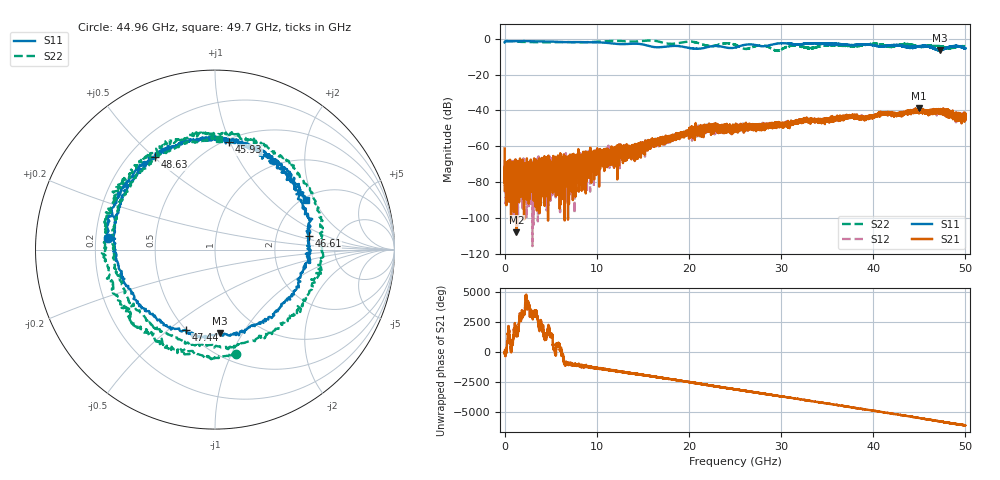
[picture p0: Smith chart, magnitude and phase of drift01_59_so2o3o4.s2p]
!Created with skrf (http://scikit-rf.org).
# Hz S RI R 50.0
!freq ReS11 ImS11 ReS21 ImS21 ReS12 ImS12 ReS22 ImS22
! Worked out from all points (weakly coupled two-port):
!   10001 points, 300 kHz to 50 GHz, reference 50 ohm
!   highest |S21| = -38.77 dB at 44.96 GHz (marker M1); lowest = -107.9 dB at 1.29 GHz (marker M2)
!   lowest |S11| = -6.6 dB at 47.28 GHz (marker M3), VSWR 2.75, Z = 33.6 - j40 ohm
!   |S11| at or under -10 dB: nowhere
!   |S22| runs from -6.8 to -1.0 dB; largest |S21 - S12| = 0.0039
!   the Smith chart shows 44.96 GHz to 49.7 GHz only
!   S11 on the Smith chart (normalised r, x): 44.96 GHz: 0.25, +0.05; 45.93 GHz: 0.52, +0.99; 46.61 GHz: 3.09, +0.64; 47.44 GHz: 0.50, -0.58; 48.63 GHz: 0.30, +0.50; 49.7 GHz: 2.10, +1.73
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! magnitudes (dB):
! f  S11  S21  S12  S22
! 300 kHz  -2.1  -61.2  -67.6  -1.3
! 255.3 MHz  -1.4  -77.0  -85.3  -1.4
! 1.29 GHz  -1.4  -107.9  -75.1  -1.7
! 6.765 GHz  -1.9  -70.8  -71.6  -1.9
! 8.335 GHz  -1.9  -68.7  -67.4  -2.1
! 16.67 GHz  -4.8  -56.9  -57.3  -1.6
! 21.81 GHz  -5.0  -51.8  -49.1  -3.7
! 25 GHz  -5.0  -50.4  -49.7  -3.4
! 26.19 GHz  -3.4  -46.9  -50.1  -5.7
! 28.08 GHz  -4.3  -48.9  -49.6  -3.9
! 29.55 GHz  -2.8  -49.0  -48.8  -6.7
! 31.26 GHz  -3.0  -48.0  -47.1  -4.0
! 33.34 GHz  -2.6  -45.5  -45.4  -5.3
! 41.67 GHz  -3.9  -40.7  -41.6  -4.5
! 44.96 GHz  -4.4  -38.8  -41.1  -4.5
! 45.93 GHz  -4.4  -40.6  -40.9  -4.0
! 46.61 GHz  -5.6  -41.2  -40.2  -3.7
! 47.28 GHz  -6.6  -39.2  -40.0  -4.3
! 47.44 GHz  -6.4  -40.2  -40.6  -4.5
! 48.63 GHz  -4.2  -43.1  -41.8  -5.1
! 49.7 GHz  -4.8  -42.9  -43.3  -4.2
! 50 GHz  -5.5  -42.3  -44.6  -4.2
